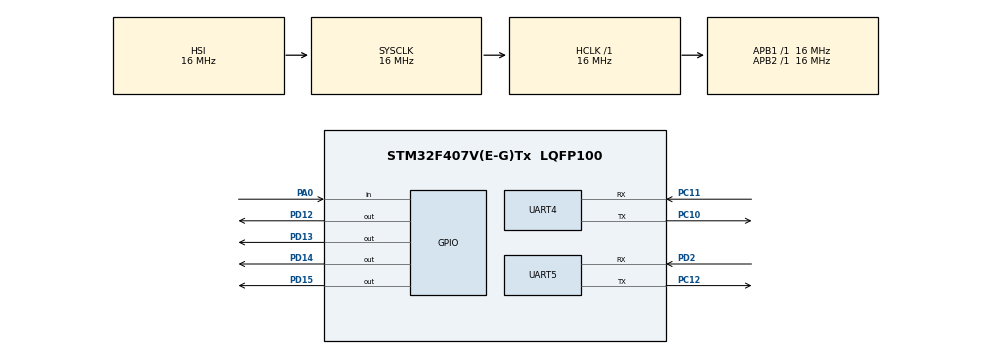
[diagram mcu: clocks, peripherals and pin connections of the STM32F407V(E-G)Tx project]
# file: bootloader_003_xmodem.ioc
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Mcu.Family=STM32F4
Mcu.Name=STM32F407V(E-G)Tx
Mcu.Package=LQFP100
NVIC.PriorityGroup=NVIC_PRIORITYGROUP_4
PA0-WKUP.Signal=GPIO_Input
PB6.Signal=USART1_TX
PB7.Signal=USART1_RX
PC10.Mode=Asynchronous
PC10.Signal=UART4_TX
PC11.Mode=Asynchronous
PC11.Signal=UART4_RX
PC12.Mode=Asynchronous
PC12.Signal=UART5_TX
PD12.Signal=GPIO_Output
PD13.Signal=GPIO_Output
PD14.Signal=GPIO_Output
PD15.Signal=GPIO_Output
PD2.Mode=Asynchronous
PD2.Signal=UART5_RX
ProjectManager.HeapSize=0x200
ProjectManager.StackSize=0x400
ProjectManager.TargetToolchain=STM32CubeIDE
RCC.AHBFreq_Value=16000000
RCC.APB1Freq_Value=16000000
RCC.APB2Freq_Value=16000000
RCC.CortexFreq_Value=16000000
RCC.HSE_VALUE=25000000
RCC.HSI_VALUE=16000000
RCC.LSE_VALUE=32768
RCC.SYSCLKFreq_VALUE=16000000
RCC.VCOOutputFreq_Value=192000000
UART4.VirtualMode=Asynchronous
UART5.VirtualMode=Asynchronous
board=custom

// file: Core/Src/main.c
/* USER CODE BEGIN Header */
/**
  ******************************************************************************
  * @file           : main.c
  * @brief          : Main program body
  ******************************************************************************
  * @attention
  *
  * Copyright (c) 2022 STMicroelectronics.
  * All rights reserved.
  *
  * This software is licensed under terms that can be found in the LICENSE file
  * in the root directory of this software component.
  * If no LICENSE file comes with this software, it is provided AS-IS.
  *
  ******************************************************************************
  */
/* USER CODE END Header */
#include "main.h"

/* USER CODE BEGIN Includes */
#include"bootloader.h"
#include"xmodem.h"
/* USER CODE END Includes */

/* USER CODE BEGIN PM */
#define CMD_BUF_SIZE 20
#define PRINT_MENU

/* USER CODE END PM */

extern UART_HandleTypeDef huart4;//debug UART
UART_HandleTypeDef huart5;		//xmodem UART

/* USER CODE BEGIN PV */
uint8_t cmdBuf[CMD_BUF_SIZE];
//bl_sig_t __attribute__((section(".sigsection"))) signature;
/* USER CODE END PV */

void SystemClock_Config(void);
static void MX_GPIO_Init(void);
static void MX_UART5_Init(void);
static void MX_UART4_Init(void);

int main(void)
{
  /* USER CODE BEGIN 1 */
//	bootloader_unlock_flash();
//	bootloader_flash_erase_signature_area();
//	bl_sig_t temp={.app_version=1,.bl_version=1,.update_flag=1};
//	memcpy(FLASH_SIGNATURE_AREA,&temp,sizeof(bl_sig_t));
//	bootloader_lock_flash();
  /* USER CODE END 1 */

  /* MCU Configuration--------------------------------------------------------*/

  /* Reset of all peripherals, Initializes the Flash interface and the Systick. */
  HAL_Init();

  /* Configure the system clock */
  SystemClock_Config();

  /* Initialize all configured peripherals */
  MX_GPIO_Init();
  MX_UART5_Init();
  MX_UART4_Init();
  /* USER CODE BEGIN 2 */

  /*Enter Bootloader mode when User_button is pressed*/
  if(HAL_GPIO_ReadPin(GPIOA, GPIO_PIN_0) == GPIO_PIN_SET){
	  bootloader_mode();
  }
  else{
	  uint8_t send=ACK,receive=0;
	  HAL_UART_Transmit(&huart4, "checking Update\n\r", strlen("checking Update\n\r"),HAL_MAX_DELAY);

	  /*wait for reception of ACK or NAK*/
	  while(HAL_UART_Receive(&huart5, &receive, 1, 1000)!=HAL_OK){
		  //send ACK
		  HAL_UART_Transmit(&huart5,&send, 1, HAL_MAX_DELAY);
	  }

	  if(receive==ACK)
	  {
		  //update available
		  HAL_UART_Transmit(&huart4, "Downloading Update\n\r", strlen("Downloading Update\n\r"),HAL_MAX_DELAY);
		  /*erase download area*/
		  bootloader_flash_erase_download_area();
		  /*receive file using xmodem*/
		  while(xmodem_receive(&huart5)!=XMODEM_ERROR);
		  /*if any error happens in xmodem*/
		  HAL_UART_Transmit(&huart4, "Downloading Update\n\r", strlen("Downloading failed\n\r"),HAL_MAX_DELAY);

	  }
	  else
	  {
	  //if received NAK
	  HAL_UART_Transmit(&huart4, "Update NOT available\n\r", strlen("Update NOT available\n\r"),HAL_MAX_DELAY);
	  bootloader_jump_to_user_code(&huart4);
	  }
}
  /* USER CODE END 2 */

  /* Infinite loop */
  while (1)
  {

  }
}

void SystemClock_Config(void)
{
  RCC_OscInitTypeDef RCC_OscInitStruct = {0};
  RCC_ClkInitTypeDef RCC_ClkInitStruct = {0};

  /** Configure the main internal regulator output voltage
  */
  __HAL_RCC_PWR_CLK_ENABLE();
  __HAL_PWR_VOLTAGESCALING_CONFIG(PWR_REGULATOR_VOLTAGE_SCALE1);

  /** Initializes the RCC Oscillators according to the specified parameters
  * in the RCC_OscInitTypeDef structure.
  */
  RCC_OscInitStruct.OscillatorType = RCC_OSCILLATORTYPE_HSI;
  RCC_OscInitStruct.HSIState = RCC_HSI_ON;
  RCC_OscInitStruct.HSICalibrationValue = RCC_HSICALIBRATION_DEFAULT;
  RCC_OscInitStruct.PLL.PLLState = RCC_PLL_NONE;
  if (HAL_RCC_OscConfig(&RCC_OscInitStruct) != HAL_OK)
  {
    Error_Handler();
  }

  /** Initializes the CPU, AHB and APB buses clocks
  */
  RCC_ClkInitStruct.ClockType = RCC_CLOCKTYPE_HCLK|RCC_CLOCKTYPE_SYSCLK
                              |RCC_CLOCKTYPE_PCLK1|RCC_CLOCKTYPE_PCLK2;
  RCC_ClkInitStruct.SYSCLKSource = RCC_SYSCLKSOURCE_HSI;
  RCC_ClkInitStruct.AHBCLKDivider = RCC_SYSCLK_DIV1;
  RCC_ClkInitStruct.APB1CLKDivider = RCC_HCLK_DIV1;
  RCC_ClkInitStruct.APB2CLKDivider = RCC_HCLK_DIV1;

  if (HAL_RCC_ClockConfig(&RCC_ClkInitStruct, FLASH_LATENCY_0) != HAL_OK)
  {
    Error_Handler();
  }
}

static void MX_UART4_Init(void)
{

  huart4.Instance = UART4;
  huart4.Init.BaudRate = 115200;
  huart4.Init.WordLength = UART_WORDLENGTH_8B;
  huart4.Init.StopBits = UART_STOPBITS_1;
  huart4.Init.Parity = UART_PARITY_NONE;
  huart4.Init.Mode = UART_MODE_TX_RX;
  huart4.Init.HwFlowCtl = UART_HWCONTROL_NONE;
  huart4.Init.OverSampling = UART_OVERSAMPLING_16;
  if (HAL_UART_Init(&huart4) != HAL_OK)
  {
    Error_Handler();
  }

}

static void MX_UART5_Init(void)
{

  huart5.Instance = UART5;
  huart5.Init.BaudRate = 115200;
  huart5.Init.WordLength = UART_WORDLENGTH_8B;
  huart5.Init.StopBits = UART_STOPBITS_1;
  huart5.Init.Parity = UART_PARITY_NONE;
  huart5.Init.Mode = UART_MODE_TX_RX;
  huart5.Init.HwFlowCtl = UART_HWCONTROL_NONE;
  huart5.Init.OverSampling = UART_OVERSAMPLING_16;
  if (HAL_UART_Init(&huart5) != HAL_OK)
  {
    Error_Handler();
  }

}

static void MX_GPIO_Init(void)
{
  GPIO_InitTypeDef GPIO_InitStruct = {0};

  /* GPIO Ports Clock Enable */
  __HAL_RCC_GPIOA_CLK_ENABLE();
  __HAL_RCC_GPIOD_CLK_ENABLE();
  __HAL_RCC_GPIOC_CLK_ENABLE();
  __HAL_RCC_GPIOB_CLK_ENABLE();

  /*Configure GPIO pin Output Level */
  HAL_GPIO_WritePin(GPIOD, GPIO_PIN_12|GPIO_PIN_13|GPIO_PIN_14|GPIO_PIN_15, GPIO_PIN_RESET);

  /*Configure GPIO pin : PA0 */
  GPIO_InitStruct.Pin = GPIO_PIN_0;
  GPIO_InitStruct.Mode = GPIO_MODE_INPUT;
  GPIO_InitStruct.Pull = GPIO_NOPULL;
  HAL_GPIO_Init(GPIOA, &GPIO_InitStruct);

  /*Configure GPIO pins : PD12 PD13 PD14 PD15 */
  GPIO_InitStruct.Pin = GPIO_PIN_12|GPIO_PIN_13|GPIO_PIN_14|GPIO_PIN_15;
  GPIO_InitStruct.Mode = GPIO_MODE_OUTPUT_PP;
  GPIO_InitStruct.Pull = GPIO_NOPULL;
  GPIO_InitStruct.Speed = GPIO_SPEED_FREQ_LOW;
  HAL_GPIO_Init(GPIOD, &GPIO_InitStruct);

  /*Configure GPIO pins : PB6 PB7 */
  GPIO_InitStruct.Pin = GPIO_PIN_6|GPIO_PIN_7;
  GPIO_InitStruct.Mode = GPIO_MODE_AF_PP;
  GPIO_InitStruct.Pull = GPIO_NOPULL;
  GPIO_InitStruct.Speed = GPIO_SPEED_FREQ_VERY_HIGH;
  GPIO_InitStruct.Alternate = GPIO_AF7_USART1;
  HAL_GPIO_Init(GPIOB, &GPIO_InitStruct);

}

/* USER CODE BEGIN 4 */
void bootloader_mode(){

	HAL_GPIO_WritePin(GPIOD, GPIO_PIN_12|GPIO_PIN_13|GPIO_PIN_14|GPIO_PIN_15, SET);
	/*Use UART5 for bootloader command*/
#ifdef PRINT_MENU
	HAL_UART_Transmit(&huart4,"Welcome to bootloader\r\n", strlen("Welcome to bootloder\r\n"),HAL_MAX_DELAY );
	HAL_UART_Transmit(&huart4,"0 BL_JMP_TO_USER_CODE\r\n", strlen("0 BL_JMP_TO_USER_CODE\r\n"),HAL_MAX_DELAY );
	HAL_UART_Transmit(&huart4,"1 BL_WRITE_BIN_TO_MEMORY\r\n", strlen("1 BL_WRITE_BIN_TO_MEMORY\r\n"),HAL_MAX_DELAY );
	HAL_UART_Transmit(&huart4,"2 BL_GET_VERSION\r\n", strlen("2 BL_GET_VERSION\r\n"),HAL_MAX_DELAY );
#endif
	/*poll UART5 to read data*/
	while(1)
	{
		/*Receive command from host*/
		HAL_UART_Receive(&huart5, cmdBuf, CMD_SIZE, HAL_MAX_DELAY);

		//break through cmd
		switch(cmdBuf[0])
		{
		case BL_GET_VERSION:
			bootloader_get_bl_version(&huart5);
			break;
		case BL_JMP_TO_USER_CODE:
			bootloader_jump_to_user_code(&huart4);
			break;
		case BL_WRITE_BIN_TO_MEMORY:
#ifdef PRINT_MENU
			HAL_UART_Transmit(&huart4,(uint8_t*) "xmodem mode\n\r", strlen("xmodem mode\n\r"),HAL_MAX_DELAY );
#endif
			bootloader_flash_erase_download_area();
			while(1){
				if(xmodem_receive(&huart5)==XMODEM_ERROR){
					HAL_UART_Transmit(&huart4, "ERROR", strlen("ERROR"), HAL_MAX_DELAY);
					while(1);
				}
			}
			break;
		default:
			HAL_UART_Transmit(&huart4, "Invalid cmd\n\r", strlen("Invalid cmd\n\r"), HAL_MAX_DELAY);
		}
	}
}

void glow_all_led(){
	HAL_GPIO_WritePin(GPIOD, GPIO_PIN_12, SET);
	HAL_GPIO_WritePin(GPIOD, GPIO_PIN_13, SET);
	HAL_GPIO_WritePin(GPIOD, GPIO_PIN_14, SET);
	HAL_GPIO_WritePin(GPIOD, GPIO_PIN_15, SET);

}
void reset_all_led(){
	HAL_GPIO_WritePin(GPIOD, GPIO_PIN_12, RESET);
	HAL_GPIO_WritePin(GPIOD, GPIO_PIN_13, RESET);
	HAL_GPIO_WritePin(GPIOD, GPIO_PIN_14, RESET);
	HAL_GPIO_WritePin(GPIOD, GPIO_PIN_15, RESET);

}
/* USER CODE END 4 */

void Error_Handler(void)
{
  __disable_irq();
  while (1)
  {
  }
}
